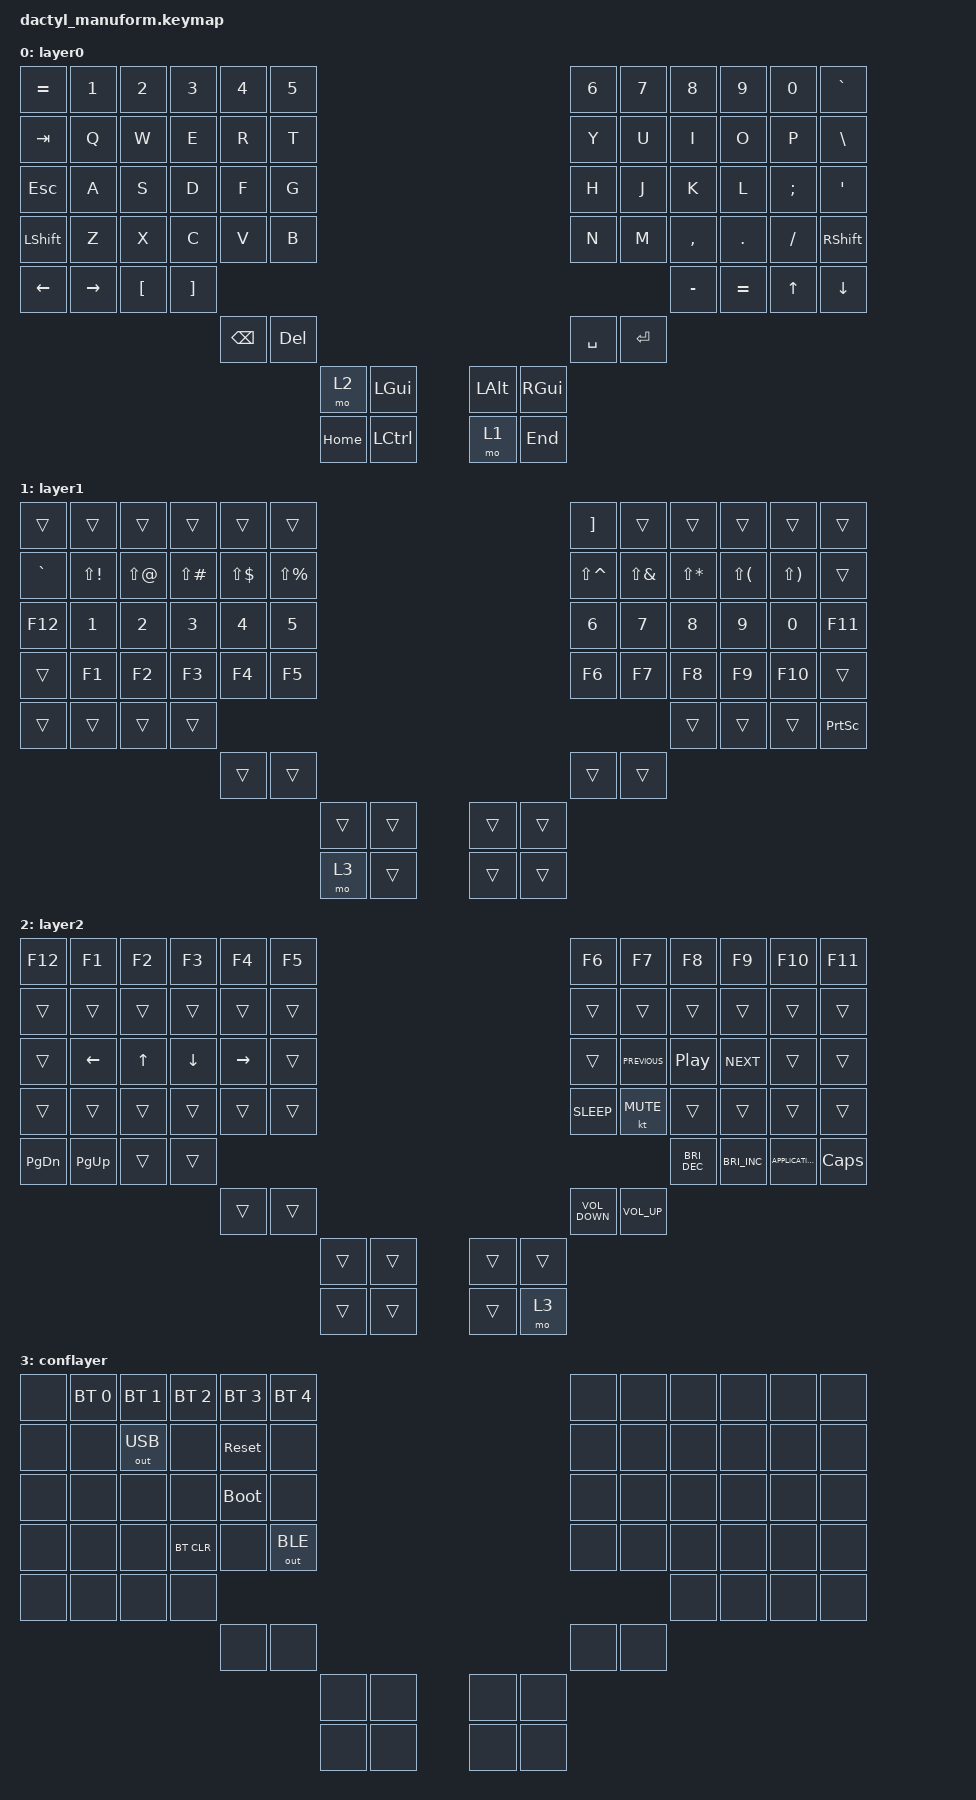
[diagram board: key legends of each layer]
#include <behaviors.dtsi>
#include <dt-bindings/zmk/bt.h>
#include <dt-bindings/zmk/keys.h>
#include <dt-bindings/zmk/outputs.h>

/ {
    keymap {
        compatible = "zmk,keymap";

        layer0 {
            bindings = <
&kp EQUAL       &kp N1     &kp N2            &kp N3             &kp N4         &kp N5                                  &kp N6         &kp N7     &kp N8     &kp N9     &kp N0         &kp GRAVE
&kp TAB         &kp Q      &kp W             &kp E              &kp R          &kp T                                   &kp Y          &kp U      &kp I      &kp O      &kp P          &kp BACKSLASH
&kp ESCAPE      &kp A      &kp S             &kp D              &kp F          &kp G                                   &kp H          &kp J      &kp K      &kp L      &kp SEMICOLON  &kp SINGLE_QUOTE
&kp LEFT_SHIFT  &kp Z      &kp X             &kp C              &kp V          &kp B                                   &kp N          &kp M      &kp COMMA  &kp DOT    &kp SLASH      &kp RIGHT_SHIFT
&kp LEFT        &kp RIGHT  &kp LEFT_BRACKET  &kp RIGHT_BRACKET                                                                                   &kp MINUS  &kp EQUAL  &kp UP         &kp DOWN
                                                                &kp BACKSPACE  &kp DELETE                              &kp SPACE      &kp ENTER
                                                                               &mo 2       &kp LEFT_GUI  &kp LEFT_ALT  &kp RIGHT_GUI
                                                                               &kp HOME    &kp LCTRL     &mo 1         &kp END
            >;
        };

        layer1 {
            bindings = <
&trans     &trans        &trans      &trans         &trans        &trans                         &kp RBKT       &trans        &trans        &trans        &trans        &trans
&kp GRAVE  &kp LS(EXCL)  &kp LS(AT)  &kp LS(POUND)  &kp LS(DLLR)  &kp LS(PRCNT)                  &kp LS(CARET)  &kp LS(AMPS)  &kp LS(STAR)  &kp LS(LPAR)  &kp LS(RPAR)  &trans
&kp F12    &kp N1        &kp N2      &kp N3         &kp N4        &kp N5                         &kp N6         &kp N7        &kp N8        &kp N9        &kp N0        &kp F11
&trans     &kp F1        &kp F2      &kp F3         &kp F4        &kp F5                         &kp F6         &kp F7        &kp F8        &kp F9        &kp F10       &trans
&trans     &trans        &trans      &trans                                                                                   &trans        &trans        &trans        &kp PRINTSCREEN
                                                    &trans        &trans                         &trans         &trans
                                                                  &trans         &trans  &trans  &trans
                                                                  &mo 3          &trans  &trans  &trans
            >;
        };

        layer2 {
            bindings = <
&kp F12        &kp F1       &kp F2  &kp F3    &kp F4     &kp F5                  &kp F6             &kp F7           &kp F8                &kp F9         &kp F10            &kp F11
&trans         &trans       &trans  &trans    &trans     &trans                  &trans             &trans           &trans                &trans         &trans             &trans
&trans         &kp LEFT     &kp UP  &kp DOWN  &kp RIGHT  &trans                  &trans             &kp C_PREVIOUS   &kp C_PLAY_PAUSE      &kp C_NEXT     &trans             &trans
&trans         &trans       &trans  &trans    &trans     &trans                  &kp C_SLEEP        &kt K_MUTE       &trans                &trans         &trans             &trans
&kp PAGE_DOWN  &kp PAGE_UP  &trans  &trans                                                                           &kp C_BRI_DEC  &kp C_BRIGHTNESS_INC  &kp K_APPLICATION  &kp CAPSLOCK
                                              &trans     &trans                  &kp C_VOLUME_DOWN  &kp C_VOLUME_UP
                                                         &trans  &trans  &trans  &trans
                                                         &trans  &trans  &trans  &mo 3
            >;
        };

        conflayer {
            bindings = <
&none  &bt BT_SEL 0  &bt BT_SEL 1  &bt BT_SEL 2  &bt BT_SEL 3  &bt BT_SEL 4                &none  &none  &none  &none  &none  &none
&none  &none         &out OUT_USB  &none         &sys_reset    &none                       &none  &none  &none  &none  &none  &none
&none  &none         &none         &none         &bootloader   &none                       &none  &none  &none  &none  &none  &none
&none  &none         &none         &bt BT_CLR    &none         &out OUT_BLE                &none  &none  &none  &none  &none  &none
&none  &none         &none         &none                                                                 &none  &none  &none  &none
                                                 &none         &none                       &none  &none
                                                               &none         &none  &none  &none
                                                               &none         &none  &none  &none
            >;
        };
    };
};
